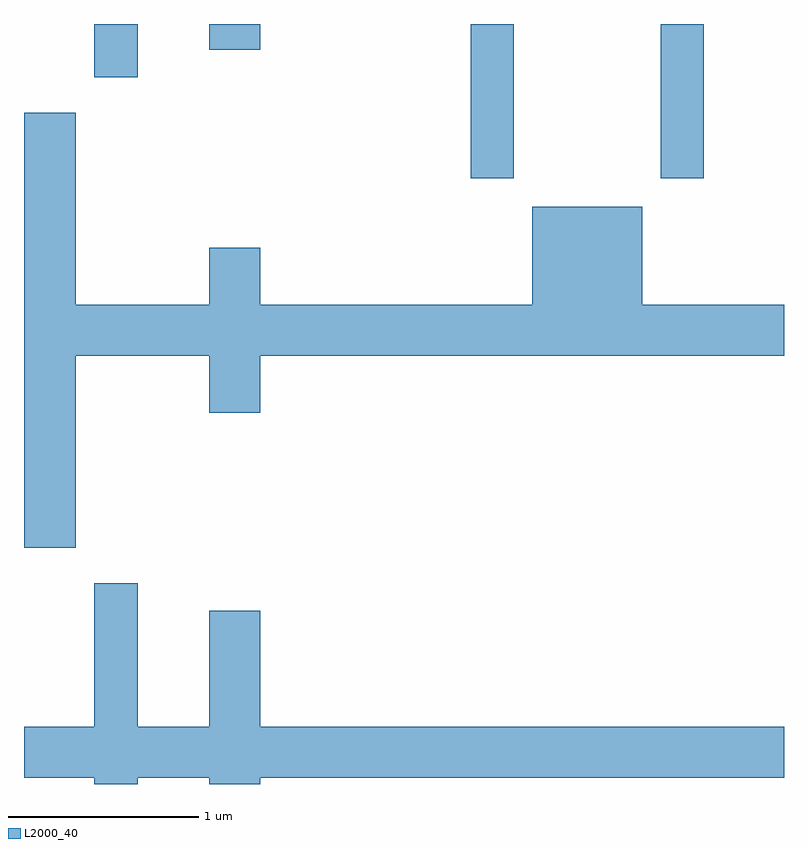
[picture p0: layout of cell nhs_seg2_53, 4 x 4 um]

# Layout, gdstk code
import gdstk
lib = gdstk.Library(unit=1e-6, precision=1e-09)
def R(c, l, rs):  # rectangles x0, y0, x1, y1
    for r in rs: c.add(gdstk.rectangle(r[:2], r[2:], *l))
def P(c, l, *ps):  # polygons
    for p in ps: c.add(gdstk.Polygon(p, *l))
L2000_40 = (2000, 40)

nhs_seg2_53 = lib.new_cell('nhs_seg2_53')
R(nhs_seg2_53, L2000_40, [(187.961,1086.991,188.189,1087.802), (188.961,1086.991,189.189,1087.802), (185.981,1087.521,186.209,1087.802), (186.586,1087.666,186.854,1087.802)])
P(nhs_seg2_53, L2000_40, [(185.884,1086.056),(186.586,1086.056),(186.586,1085.756),(186.854,1085.756),(186.854,1086.056),(189.611,1086.056),(189.611,1086.324),(188.864,1086.324),(188.864,1086.839),(188.286,1086.839),(188.286,1086.324),(186.854,1086.324),(186.854,1086.624),(186.586,1086.624),(186.586,1086.324),(185.884,1086.324),(185.884,1087.334),(185.611,1087.334),(185.611,1085.046),(185.884,1085.046)],
  [(186.209,1083.836),(186.586,1083.836),(186.586,1083.802),(186.854,1083.802),(186.854,1083.836),(189.611,1083.836),(189.611,1084.104),(186.854,1084.104),(186.854,1084.714),(186.586,1084.714),(186.586,1084.104),(186.209,1084.104),(186.209,1084.859),(185.981,1084.859),(185.981,1084.104),(185.611,1084.104),(185.611,1083.836),(185.981,1083.836),(185.981,1083.802),(186.209,1083.802)])

lib.write_gds('nhs_seg2_53.gds')
